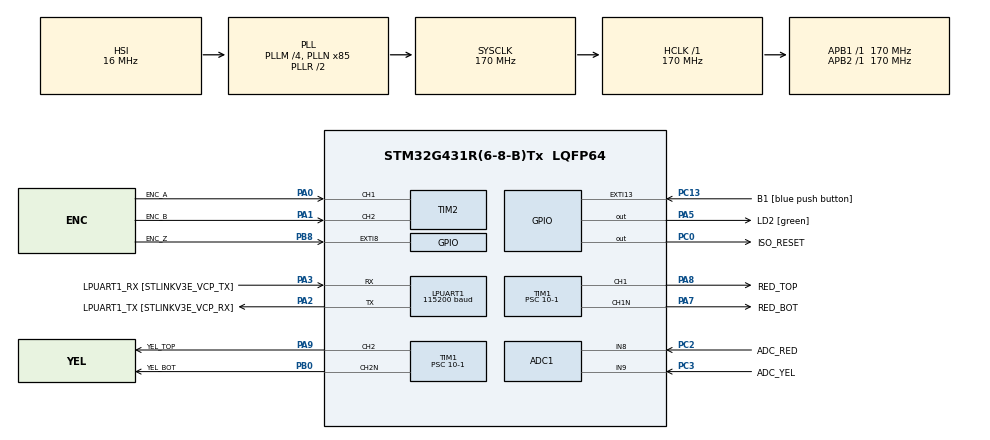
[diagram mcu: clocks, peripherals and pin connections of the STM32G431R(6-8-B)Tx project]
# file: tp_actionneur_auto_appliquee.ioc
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ADC1.Channel-1\#ChannelRegularConversion=ADC_CHANNEL_8
ADC1.Channel-2\#ChannelRegularConversion=ADC_CHANNEL_9
ADC1.ContinuousConvMode=ENABLE
ADC1.NbrOfConversion=2
ADC1.NbrOfConversionFlag=1
ADC1.OffsetNumber-1\#ChannelRegularConversion=ADC_OFFSET_NONE
ADC1.OffsetNumber-2\#ChannelRegularConversion=ADC_OFFSET_NONE
ADC1.Rank-1\#ChannelRegularConversion=1
ADC1.Rank-2\#ChannelRegularConversion=2
ADC1.SamplingTime-1\#ChannelRegularConversion=ADC_SAMPLETIME_24CYCLES_5
ADC1.SamplingTime-2\#ChannelRegularConversion=ADC_SAMPLETIME_24CYCLES_5
ADC1.master=1
Dma.ADC1.0.Direction=DMA_PERIPH_TO_MEMORY
Dma.ADC1.0.EventEnable=DISABLE
Dma.ADC1.0.Instance=DMA1_Channel1
Dma.ADC1.0.MemDataAlignment=DMA_MDATAALIGN_WORD
Dma.ADC1.0.MemInc=DMA_MINC_ENABLE
Dma.ADC1.0.Mode=DMA_CIRCULAR
Dma.ADC1.0.PeriphDataAlignment=DMA_PDATAALIGN_WORD
Dma.ADC1.0.PeriphInc=DMA_PINC_DISABLE
Dma.ADC1.0.Polarity=HAL_DMAMUX_REQ_GEN_RISING
Dma.ADC1.0.Priority=DMA_PRIORITY_LOW
Dma.ADC1.0.RequestNumber=1
Dma.ADC1.0.SignalID=NONE
Dma.ADC1.0.SyncEnable=DISABLE
Dma.ADC1.0.SyncPolarity=HAL_DMAMUX_SYNC_NO_EVENT
Dma.ADC1.0.SyncRequestNumber=1
Dma.ADC1.0.SyncSignalID=NONE
Dma.Request0=ADC1
LPUART1.BaudRate=115200
LPUART1.WordLength=UART_WORDLENGTH_8B
Mcu.Family=STM32G4
Mcu.Name=STM32G431R(6-8-B)Tx
Mcu.Package=LQFP64
NVIC.ADC1_2_IRQn=true\:0\:0\:false\:false\:true\:true\:true
NVIC.DMA1_Channel1_IRQn=true\:0\:0\:false\:false\:true\:false\:true
NVIC.EXTI15_10_IRQn=true\:0\:0\:false\:false\:true\:true\:true
NVIC.EXTI9_5_IRQn=true\:0\:0\:false\:false\:true\:true\:true
NVIC.LPUART1_IRQn=true\:0\:0\:false\:false\:true\:true\:true
NVIC.PriorityGroup=NVIC_PRIORITYGROUP_4
NVIC.TIM6_DAC_IRQn=true\:0\:0\:false\:false\:true\:true\:true
PA0.GPIO_Label=ENC_A
PA0.Signal=S_TIM2_CH1
PA1.GPIO_Label=ENC_B
PA1.Signal=S_TIM2_CH2
PA13.GPIO_Label=T_SWDIO
PA13.Mode=Serial_Wire
PA13.Signal=SYS_JTMS-SWDIO
PA14.GPIO_Label=T_SWCLK
PA14.Mode=Serial_Wire
PA14.Signal=SYS_JTCK-SWCLK
PA2.GPIO_Label=LPUART1_TX [STLINKV3E_VCP_RX]
PA2.Mode=Asynchronous
PA2.Signal=LPUART1_TX
PA3.GPIO_Label=LPUART1_RX [STLINKV3E_VCP_TX]
PA3.Mode=Asynchronous
PA3.Signal=LPUART1_RX
PA5.GPIO_Label=LD2 [green]
PA5.Signal=GPIO_Output
PA7.GPIO_Label=RED_BOT
PA7.Mode=PWM Generation1 CH1 CH1N
PA7.Signal=TIM1_CH1N
PA8.GPIO_Label=RED_TOP
PA8.Signal=S_TIM1_CH1
PA9.GPIO_Label=YEL_TOP
PA9.Signal=S_TIM1_CH2
PB0.GPIO_Label=YEL_BOT
PB0.Mode=PWM Generation2 CH2 CH2N
PB0.Signal=TIM1_CH2N
PB3.GPIO_Label=T_SWO
PB3.Signal=SYS_JTDO-SWO
PB8-BOOT0.GPIO_Label=ENC_Z
PB8-BOOT0.Signal=GPXTI8
PC0.GPIO_Label=ISO_RESET
PC0.Signal=GPIO_Output
PC13.GPIO_Label=B1 [blue push button]
PC13.Signal=GPXTI13
PC14-OSC32_IN.Mode=LSE-External-Oscillator
PC14-OSC32_IN.Signal=RCC_OSC32_IN
PC15-OSC32_OUT.Mode=LSE-External-Oscillator
PC15-OSC32_OUT.Signal=RCC_OSC32_OUT
PC2.GPIO_Label=ADC_RED
PC2.Mode=IN8-Single-Ended
PC2.Signal=ADC1_IN8
PC3.GPIO_Label=ADC_YEL
PC3.Mode=IN9-Single-Ended
PC3.Signal=ADC1_IN9
PF0-OSC_IN.Mode=HSE-External-Oscillator
PF0-OSC_IN.Signal=RCC_OSC_IN
PF1-OSC_OUT.Mode=HSE-External-Oscillator
PF1-OSC_OUT.Signal=RCC_OSC_OUT
ProjectManager.HeapSize=0x200
ProjectManager.StackSize=0x400
ProjectManager.TargetToolchain=STM32CubeIDE
RCC.ADC12Freq_Value=170000000
RCC.AHBFreq_Value=170000000
RCC.APB1Freq_Value=170000000
RCC.APB1TimFreq_Value=170000000
RCC.APB2Freq_Value=170000000
RCC.APB2TimFreq_Value=170000000
RCC.CortexFreq_Value=170000000
RCC.EXTERNAL_CLOCK_VALUE=12288000
RCC.HCLKFreq_Value=170000000
RCC.HSE_VALUE=24000000
RCC.HSI48_VALUE=48000000
RCC.HSI_VALUE=16000000
RCC.PLLM=RCC_PLLM_DIV4
RCC.PLLN=85
RCC.RTCClockSelection=RCC_RTCCLKSOURCE_LSE
RCC.SYSCLKFreq_VALUE=170000000
RCC.SYSCLKSource=RCC_SYSCLKSOURCE_PLLCLK
RCC.USBFreq_Value=170000000
RCC.VCOOutputFreq_Value=340000000
SH.S_TIM1_CH1.0=TIM1_CH1,PWM Generation1 CH1 CH1N
SH.S_TIM1_CH2.0=TIM1_CH2,PWM Generation2 CH2 CH2N
SH.S_TIM2_CH1.0=TIM2_CH1,Encoder_Interface
SH.S_TIM2_CH2.0=TIM2_CH2,Encoder_Interface
TIM1.Channel-PWM\ Generation1\ CH1\ CH1N=TIM_CHANNEL_1
TIM1.Channel-PWM\ Generation2\ CH2\ CH2N=TIM_CHANNEL_2
TIM1.CounterMode=TIM_COUNTERMODE_CENTERALIGNED1
TIM1.DeadTime=203
TIM1.OCMode_PWM-PWM\ Generation2\ CH2\ CH2N=TIM_OCMODE_PWM1
TIM1.PeriodNoDither=1024-1
TIM1.Prescaler=10-1
TIM1.PulseNoDither_1=0
TIM1.PulseNoDither_2=0
TIM2.EncoderMode=TIM_ENCODERMODE_TI12
TIM6.PeriodNoDither=200-1
TIM6.Prescaler=17000-1
VP_SYS_VS_DBSignals.Mode=DisableDeadBatterySignals
VP_TIM6_VS_ClockSourceINT.Mode=Enable_Timer
board=NUCLEO-G431RB

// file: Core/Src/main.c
/* USER CODE BEGIN Header */
/**
 ******************************************************************************
 * @file           : main.c
 * @brief          : Main program body
 ******************************************************************************
 * @attention
 *
 * <h2><center>&copy; Copyright (c) 2021 STMicroelectronics.
 * All rights reserved.</center></h2>
 *
 * This software component is licensed by ST under BSD 3-Clause license,
 * the "License"; You may not use this file except in compliance with the
 * License. You may obtain a copy of the License at:
 *                        opensource.org/licenses/BSD-3-Clause
 *
 ******************************************************************************
 */
/* USER CODE END Header */
#include "main.h"
#include "adc.h"
#include "dma.h"
#include "usart.h"
#include "tim.h"
#include "gpio.h"

/* USER CODE BEGIN Includes */
#include <stdio.h>
#include <stdlib.h>
#include <math.h>
#include "SHELL.h"
/* USER CODE END Includes */

/* USER CODE BEGIN PM */
#define ENC_TICKS_PER_REV 4000
#define ENC_FREQ_ECH 50
/* USER CODE END PM */

/* USER CODE BEGIN PV */
uint8_t hacheurStart = 0;
int32_t ticks = 0;
uint32_t value[2];
/* USER CODE END PV */

void SystemClock_Config(void);

/* USER CODE BEGIN 0 */

int fonction(int argc, char ** argv) {
	printf("Fonction exemple\r\n");

	printf("argc = %d\r\n", argc);

	for (int i = 0 ; i < argc ; i++) {
		printf("arg numero %d = %s\r\n", i, argv[i]);
	}

	return 0;
}

int hacheur(int argc, char ** argv){
	if(argc == 2){
		uint8_t cmd = atoi(argv[1]);

		if(cmd == 1){
			printf("Hacheur active !\r\n");
			hacheurStart = 1;
		}
		else{
			hacheurStart = 0;
			printf("Hacheur desactive !\r\n");
		}
	}

	return 0;
}

int speed(int argc, char ** argv){
	if(argc == 2){
		float vitesse = atof(argv[1]);
		printf("vitesse = %f\r\n",vitesse);

		if(vitesse < 0) vitesse = 0;
		else if(vitesse > 100) vitesse = 100;

		float cmd = 1023 * (vitesse/100);
		TIM1->CCR1 = (int)cmd;
		printf("cmd = %d\r\n",(int)cmd);

		float cmdn = 1023 - cmd;
		TIM1->CCR2 = (int)cmdn;
		printf("cmdn = %d\r\n",(int)cmdn);
	}

	return 0;
}

/* USER CODE END 0 */

int main(void)
{

	/* MCU Configuration--------------------------------------------------------*/

	/* Reset of all peripherals, Initializes the Flash interface and the Systick. */
	HAL_Init();

	/* Configure the system clock */
	SystemClock_Config();

	/* Initialize all configured peripherals */
	MX_GPIO_Init();
	MX_LPUART1_UART_Init();
	MX_TIM1_Init();
	MX_TIM2_Init();
	MX_TIM6_Init();
	MX_DMA_Init();
	MX_ADC1_Init();
	/* USER CODE BEGIN 2 */
	shell_init();
	shell_add('f', fonction, "Fonction exemple");
	shell_add('a', hacheur, "Activation hacheur");
	shell_add('s', speed, "Vitesse");

	TIM1->PSC = 5-1;	// car il compte et decompte
	TIM1->ARR = 1024-1;

	TIM1->CCR1 = 614;
	TIM1->CCR2 = 1023-614;

	HAL_TIM_Base_Start_IT(&htim6);
	HAL_TIM_Encoder_Start(&htim2, TIM_CHANNEL_1 || TIM_CHANNEL_2);

	//HAL_ADCEx_Calibration_Start(&hadc1, ADC_SINGLE_ENDED);
	HAL_ADC_Start_DMA(&hadc1, value, 2);

	/* USER CODE END 2 */

	/* Infinite loop */
	/* USER CODE BEGIN WHILE */
	while (1)
	{
		if (hacheurStart == 1){
			HAL_GPIO_WritePin(ISO_RESET_GPIO_Port, ISO_RESET_Pin, 1);
			HAL_Delay(1);
			HAL_GPIO_WritePin(ISO_RESET_GPIO_Port, ISO_RESET_Pin, 0);

			HAL_TIM_PWM_Start(&htim1, TIM_CHANNEL_1);
			HAL_TIMEx_PWMN_Start(&htim1, TIM_CHANNEL_1);

			HAL_TIM_PWM_Start(&htim1, TIM_CHANNEL_2);
			HAL_TIMEx_PWMN_Start(&htim1, TIM_CHANNEL_2);
		}
		else{
			HAL_GPIO_WritePin(ISO_RESET_GPIO_Port, ISO_RESET_Pin, 0);

			HAL_TIM_PWM_Stop(&htim1, TIM_CHANNEL_1);
			HAL_TIMEx_PWMN_Stop(&htim1, TIM_CHANNEL_1);
			HAL_TIM_PWM_Stop(&htim1, TIM_CHANNEL_2);
			HAL_TIMEx_PWMN_Stop(&htim1, TIM_CHANNEL_2);
		}

		HAL_ADC_Start_DMA(&hadc1, value, 2);
		HAL_Delay(1000);
		/* USER CODE END WHILE */

	}
}

void SystemClock_Config(void)
{
	RCC_OscInitTypeDef RCC_OscInitStruct = {0};
	RCC_ClkInitTypeDef RCC_ClkInitStruct = {0};
	RCC_PeriphCLKInitTypeDef PeriphClkInit = {0};

	/** Configure the main internal regulator output voltage
	 */
	HAL_PWREx_ControlVoltageScaling(PWR_REGULATOR_VOLTAGE_SCALE1_BOOST);
	/** Initializes the RCC Oscillators according to the specified parameters
	 * in the RCC_OscInitTypeDef structure.
	 */
	RCC_OscInitStruct.OscillatorType = RCC_OSCILLATORTYPE_HSI;
	RCC_OscInitStruct.HSIState = RCC_HSI_ON;
	RCC_OscInitStruct.HSICalibrationValue = RCC_HSICALIBRATION_DEFAULT;
	RCC_OscInitStruct.PLL.PLLState = RCC_PLL_ON;
	RCC_OscInitStruct.PLL.PLLSource = RCC_PLLSOURCE_HSI;
	RCC_OscInitStruct.PLL.PLLM = RCC_PLLM_DIV4;
	RCC_OscInitStruct.PLL.PLLN = 85;
	RCC_OscInitStruct.PLL.PLLP = RCC_PLLP_DIV2;
	RCC_OscInitStruct.PLL.PLLQ = RCC_PLLQ_DIV2;
	RCC_OscInitStruct.PLL.PLLR = RCC_PLLR_DIV2;
	if (HAL_RCC_OscConfig(&RCC_OscInitStruct) != HAL_OK)
	{
		Error_Handler();
	}
	/** Initializes the CPU, AHB and APB buses clocks
	 */
	RCC_ClkInitStruct.ClockType = RCC_CLOCKTYPE_HCLK|RCC_CLOCKTYPE_SYSCLK
			|RCC_CLOCKTYPE_PCLK1|RCC_CLOCKTYPE_PCLK2;
	RCC_ClkInitStruct.SYSCLKSource = RCC_SYSCLKSOURCE_PLLCLK;
	RCC_ClkInitStruct.AHBCLKDivider = RCC_SYSCLK_DIV1;
	RCC_ClkInitStruct.APB1CLKDivider = RCC_HCLK_DIV1;
	RCC_ClkInitStruct.APB2CLKDivider = RCC_HCLK_DIV1;

	if (HAL_RCC_ClockConfig(&RCC_ClkInitStruct, FLASH_LATENCY_4) != HAL_OK)
	{
		Error_Handler();
	}
	/** Initializes the peripherals clocks
	 */
	PeriphClkInit.PeriphClockSelection = RCC_PERIPHCLK_LPUART1|RCC_PERIPHCLK_ADC12;
	PeriphClkInit.Lpuart1ClockSelection = RCC_LPUART1CLKSOURCE_PCLK1;
	PeriphClkInit.Adc12ClockSelection = RCC_ADC12CLKSOURCE_SYSCLK;
	if (HAL_RCCEx_PeriphCLKConfig(&PeriphClkInit) != HAL_OK)
	{
		Error_Handler();
	}
}

/* USER CODE BEGIN 4 */

void HAL_GPIO_EXTI_Callback(uint16_t GPIO_Pin){
	if(GPIO_Pin == GPIO_PIN_13){
		hacheurStart = !hacheurStart;

		if(hacheurStart == 1){
			printf("Hacheur active !\r\n");
		}
		else{
			printf("Hacheur desactive !\r\n");
		}
	}

	if(GPIO_Pin == GPIO_PIN_8){
		/*
		ticks = TIM2->CNT;
		TIM2->CNT = 0;
		if(hacheurStart) printf("ticks/tour = %d\r\n",(int)ticks);
		 */
	}
}

void HAL_ADC_ConvCpltCallback(ADC_HandleTypeDef* hadc){
	if(hadc->Instance == ADC1){
		printf("%d\t%d\r\n",(int)value[0],(int)value[1]);
	}
}

void HAL_TIM_PeriodElapsedCallback(TIM_HandleTypeDef *htim){
	if(htim->Instance == TIM6){
		ticks = TIM2->CNT;
		TIM2->CNT = 0;

		float vit = ((float)ticks * 2 * M_PI * ENC_FREQ_ECH) / (float)ENC_TICKS_PER_REV;

		if(hacheurStart){
			//printf("ticks = %d\r\n",ticks);
			//printf("vit = %f rad/s\r\n",vit);
		}
	}
}

void HAL_UART_RxCpltCallback(UART_HandleTypeDef *huart){
	if(huart->Instance == LPUART1){
		shell_char_received();
		HAL_UART_Receive_IT(&hlpuart1, (uint8_t*)&c, 1);
	}
}

/* USER CODE END 4 */

void Error_Handler(void)
{
	__disable_irq();
	while (1)
	{
	}
}

/************************ (C) COPYRIGHT STMicroelectronics *****END OF FILE****/
